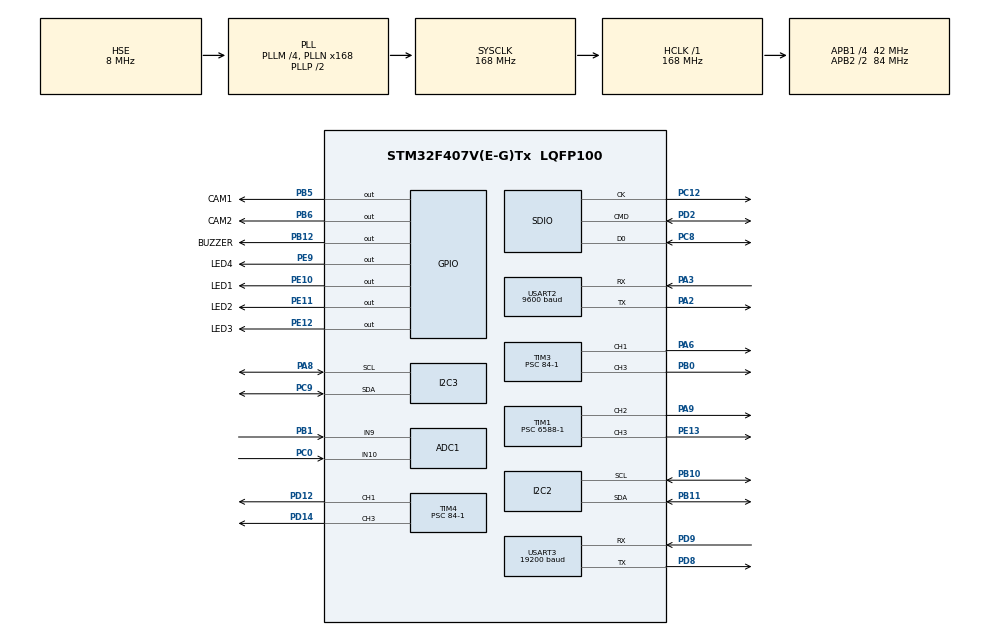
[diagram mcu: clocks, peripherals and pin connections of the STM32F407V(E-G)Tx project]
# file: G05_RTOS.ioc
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ADC1.Channel-0\#ChannelRegularConversion=ADC_CHANNEL_10
ADC1.ContinuousConvMode=ENABLE
ADC1.DMAContinuousRequests=ENABLE
ADC1.DiscontinuousConvMode=DISABLE
ADC1.NbrOfConversion=1
ADC1.NbrOfConversionFlag=1
ADC1.Rank-0\#ChannelRegularConversion=1
ADC1.SamplingTime-0\#ChannelRegularConversion=ADC_SAMPLETIME_480CYCLES
ADC1.ScanConvMode=ENABLE
ADC1.master=1
Dma.ADC1.3.Direction=DMA_PERIPH_TO_MEMORY
Dma.ADC1.3.FIFOMode=DMA_FIFOMODE_DISABLE
Dma.ADC1.3.Instance=DMA2_Stream0
Dma.ADC1.3.MemDataAlignment=DMA_MDATAALIGN_WORD
Dma.ADC1.3.MemInc=DMA_MINC_ENABLE
Dma.ADC1.3.Mode=DMA_CIRCULAR
Dma.ADC1.3.PeriphDataAlignment=DMA_PDATAALIGN_WORD
Dma.ADC1.3.PeriphInc=DMA_PINC_DISABLE
Dma.ADC1.3.Priority=DMA_PRIORITY_LOW
Dma.Request0=USART3_RX
Dma.Request1=USART3_TX
Dma.Request2=USART2_RX
Dma.Request3=ADC1
Dma.Request4=SDIO_RX
Dma.Request5=SDIO_TX
Dma.SDIO_RX.4.Direction=DMA_PERIPH_TO_MEMORY
Dma.SDIO_RX.4.FIFOMode=DMA_FIFOMODE_ENABLE
Dma.SDIO_RX.4.FIFOThreshold=DMA_FIFO_THRESHOLD_FULL
Dma.SDIO_RX.4.Instance=DMA2_Stream3
Dma.SDIO_RX.4.MemBurst=DMA_MBURST_INC4
Dma.SDIO_RX.4.MemDataAlignment=DMA_MDATAALIGN_WORD
Dma.SDIO_RX.4.MemInc=DMA_MINC_ENABLE
Dma.SDIO_RX.4.Mode=DMA_PFCTRL
Dma.SDIO_RX.4.PeriphBurst=DMA_PBURST_INC4
Dma.SDIO_RX.4.PeriphDataAlignment=DMA_PDATAALIGN_WORD
Dma.SDIO_RX.4.PeriphInc=DMA_PINC_DISABLE
Dma.SDIO_RX.4.Priority=DMA_PRIORITY_LOW
Dma.SDIO_TX.5.Direction=DMA_MEMORY_TO_PERIPH
Dma.SDIO_TX.5.FIFOMode=DMA_FIFOMODE_ENABLE
Dma.SDIO_TX.5.FIFOThreshold=DMA_FIFO_THRESHOLD_FULL
Dma.SDIO_TX.5.Instance=DMA2_Stream6
Dma.SDIO_TX.5.MemBurst=DMA_MBURST_INC4
Dma.SDIO_TX.5.MemDataAlignment=DMA_MDATAALIGN_WORD
Dma.SDIO_TX.5.MemInc=DMA_MINC_ENABLE
Dma.SDIO_TX.5.Mode=DMA_PFCTRL
Dma.SDIO_TX.5.PeriphBurst=DMA_PBURST_INC4
Dma.SDIO_TX.5.PeriphDataAlignment=DMA_PDATAALIGN_WORD
Dma.SDIO_TX.5.PeriphInc=DMA_PINC_DISABLE
Dma.SDIO_TX.5.Priority=DMA_PRIORITY_LOW
Dma.USART2_RX.2.Direction=DMA_PERIPH_TO_MEMORY
Dma.USART2_RX.2.FIFOMode=DMA_FIFOMODE_DISABLE
Dma.USART2_RX.2.Instance=DMA1_Stream5
Dma.USART2_RX.2.MemDataAlignment=DMA_MDATAALIGN_BYTE
Dma.USART2_RX.2.MemInc=DMA_MINC_ENABLE
Dma.USART2_RX.2.Mode=DMA_CIRCULAR
Dma.USART2_RX.2.PeriphDataAlignment=DMA_PDATAALIGN_BYTE
Dma.USART2_RX.2.PeriphInc=DMA_PINC_DISABLE
Dma.USART2_RX.2.Priority=DMA_PRIORITY_LOW
Dma.USART3_RX.0.Direction=DMA_PERIPH_TO_MEMORY
Dma.USART3_RX.0.FIFOMode=DMA_FIFOMODE_DISABLE
Dma.USART3_RX.0.Instance=DMA1_Stream1
Dma.USART3_RX.0.MemDataAlignment=DMA_MDATAALIGN_BYTE
Dma.USART3_RX.0.MemInc=DMA_MINC_ENABLE
Dma.USART3_RX.0.Mode=DMA_CIRCULAR
Dma.USART3_RX.0.PeriphDataAlignment=DMA_PDATAALIGN_BYTE
Dma.USART3_RX.0.PeriphInc=DMA_PINC_DISABLE
Dma.USART3_RX.0.Priority=DMA_PRIORITY_LOW
Dma.USART3_TX.1.Direction=DMA_MEMORY_TO_PERIPH
Dma.USART3_TX.1.FIFOMode=DMA_FIFOMODE_DISABLE
Dma.USART3_TX.1.Instance=DMA1_Stream3
Dma.USART3_TX.1.MemDataAlignment=DMA_MDATAALIGN_BYTE
Dma.USART3_TX.1.MemInc=DMA_MINC_ENABLE
Dma.USART3_TX.1.Mode=DMA_NORMAL
Dma.USART3_TX.1.PeriphDataAlignment=DMA_PDATAALIGN_BYTE
Dma.USART3_TX.1.PeriphInc=DMA_PINC_DISABLE
Dma.USART3_TX.1.Priority=DMA_PRIORITY_LOW
FATFS._MAX_SS=512
FATFS._USE_LFN=0
FREERTOS.BinarySemaphores01=telemetrySemaphore,Dynamic,NULL;gimbalSemaphore,Dynamic,NULL
FREERTOS.HEAP_NUMBER=4
FREERTOS.Tasks01=defaultTask,55,512,StartDefaultTask,Default,NULL,Dynamic,NULL,NULL;gimbalTask,16,512,StartGimbalTask,Default,NULL,Dynamic,NULL,NULL;gyroscopeTask,40,512,StartGyroscopeTask,Default,NULL,Dynamic,NULL,NULL;eulerTask,41,512,StartEulerTask,Default,NULL,Dynamic,NULL,NULL;rtcTask,8,512,StartRTCTask,Default,NULL,Dynamic,NULL,NULL;barometerTask,32,512,StartBarometerTask,Default,NULL,Dynamic,NULL,NULL;telemetryTask,53,512,StartTelemetryTask,Default,NULL,Dynamic,NULL,NULL;cameraTask,8,512,StartCameraTask,Default,NULL,Dynamic,NULL,NULL;calibrationTask,54,512,StartCalibrationTask,Default,NULL,Dynamic,NULL,NULL;adcTask,8,512,StartADCTask,Default,NULL,Dynamic,NULL,NULL;gpsTask,8,512,StartGPSTask,Default,NULL,Dynamic,NULL,NULL;getdataTask,16,512,StartGetDataTask,Default,NULL,Dynamic,NULL,NULL
FREERTOS.configTOTAL_HEAP_SIZE=32768
FREERTOS.configUSE_NEWLIB_REENTRANT=1
I2C2.DualAddressMode=I2C_DUALADDRESS_DISABLE
I2C2.NoStretchMode=I2C_NOSTRETCH_DISABLE
I2C3.I2C_Mode=I2C_Fast
Mcu.Family=STM32F4
Mcu.Name=STM32F407V(E-G)Tx
Mcu.Package=LQFP100
NVIC.DMA1_Stream1_IRQn=true\:5\:0\:false\:false\:true\:true\:false\:true\:true
NVIC.DMA1_Stream3_IRQn=true\:5\:0\:false\:false\:true\:true\:false\:true\:true
NVIC.DMA1_Stream5_IRQn=true\:5\:0\:false\:false\:true\:true\:false\:true\:true
NVIC.DMA2_Stream0_IRQn=true\:5\:0\:false\:false\:true\:true\:false\:true\:true
NVIC.DMA2_Stream3_IRQn=true\:5\:0\:false\:false\:true\:true\:false\:true\:true
NVIC.DMA2_Stream6_IRQn=true\:5\:0\:false\:false\:true\:true\:false\:true\:true
NVIC.PriorityGroup=NVIC_PRIORITYGROUP_4
NVIC.SDIO_IRQn=true\:5\:0\:false\:false\:true\:true\:true\:true\:true
NVIC.TIM1_UP_TIM10_IRQn=true\:5\:0\:true\:false\:true\:true\:true\:true\:true
NVIC.TIM6_DAC_IRQn=true\:15\:0\:false\:false\:true\:false\:false\:true\:true
NVIC.TimeBase=TIM6_DAC_IRQn
NVIC.TimeBaseIP=TIM6
NVIC.USART3_IRQn=true\:5\:0\:true\:false\:true\:true\:true\:true\:true
PA13.Mode=Serial_Wire
PA13.Signal=SYS_JTMS-SWDIO
PA14.Mode=Serial_Wire
PA14.Signal=SYS_JTCK-SWCLK
PA2.Mode=Asynchronous
PA2.Signal=USART2_TX
PA3.Mode=Asynchronous
PA3.Signal=USART2_RX
PA6.Signal=S_TIM3_CH1
PA8.Mode=I2C
PA8.Signal=I2C3_SCL
PA9.Signal=S_TIM1_CH2
PB0.Signal=S_TIM3_CH3
PB1.Signal=ADCx_IN9
PB10.Mode=I2C
PB10.Signal=I2C2_SCL
PB11.Mode=I2C
PB11.Signal=I2C2_SDA
PB12.GPIO_Label=BUZZER
PB12.Signal=GPIO_Output
PB5.GPIO_Label=CAM1
PB5.Signal=GPIO_Output
PB6.GPIO_Label=CAM2
PB6.Signal=GPIO_Output
PC0.Signal=ADCx_IN10
PC12.Mode=SD_1_bit
PC12.Signal=SDIO_CK
PC14-OSC32_IN.Mode=LSE-External-Oscillator
PC14-OSC32_IN.Signal=RCC_OSC32_IN
PC15-OSC32_OUT.Mode=LSE-External-Oscillator
PC15-OSC32_OUT.Signal=RCC_OSC32_OUT
PC8.Mode=SD_1_bit
PC8.Signal=SDIO_D0
PC9.Mode=I2C
PC9.Signal=I2C3_SDA
PD12.Signal=S_TIM4_CH1
PD14.Signal=S_TIM4_CH3
PD2.Mode=SD_1_bit
PD2.Signal=SDIO_CMD
PD8.Mode=Asynchronous
PD8.Signal=USART3_TX
PD9.Mode=Asynchronous
PD9.Signal=USART3_RX
PE10.GPIO_Label=LED1
PE10.Signal=GPIO_Output
PE11.GPIO_Label=LED2
PE11.Signal=GPIO_Output
PE12.GPIO_Label=LED3
PE12.Signal=GPIO_Output
PE13.Signal=S_TIM1_CH3
PE9.GPIO_Label=LED4
PE9.Signal=GPIO_Output
PH0-OSC_IN.Mode=HSE-External-Oscillator
PH0-OSC_IN.Signal=RCC_OSC_IN
PH1-OSC_OUT.Mode=HSE-External-Oscillator
PH1-OSC_OUT.Signal=RCC_OSC_OUT
ProjectManager.HeapSize=0x200
ProjectManager.StackSize=0x400
ProjectManager.TargetToolchain=STM32CubeIDE
RCC.48MHZClocksFreq_Value=48000000
RCC.AHBFreq_Value=168000000
RCC.APB1CLKDivider=RCC_HCLK_DIV4
RCC.APB1Freq_Value=42000000
RCC.APB1TimFreq_Value=84000000
RCC.APB2CLKDivider=RCC_HCLK_DIV2
RCC.APB2Freq_Value=84000000
RCC.APB2TimFreq_Value=168000000
RCC.CortexFreq_Value=168000000
RCC.HCLKFreq_Value=168000000
RCC.HSE_VALUE=8000000
RCC.HSI_VALUE=16000000
RCC.PLLM=4
RCC.PLLN=168
RCC.PLLQ=7
RCC.PLLSourceVirtual=RCC_PLLSOURCE_HSE
RCC.RCC_RTC_Clock_Source=RCC_RTCCLKSOURCE_LSE
RCC.RCC_RTC_Clock_SourceVirtual=RCC_RTCCLKSOURCE_LSE
RCC.SYSCLKFreq_VALUE=168000000
RCC.SYSCLKSource=RCC_SYSCLKSOURCE_PLLCLK
RCC.VCOOutputFreq_Value=336000000
SDIO.ClockDiv=12
SH.ADCx_IN10.0=ADC1_IN10,IN10
SH.ADCx_IN9.0=ADC1_IN9,IN9
SH.S_TIM1_CH2.0=TIM1_CH2,PWM Generation2 CH2
SH.S_TIM1_CH3.0=TIM1_CH3,PWM Generation3 CH3
SH.S_TIM3_CH1.0=TIM3_CH1,PWM Generation1 CH1
SH.S_TIM3_CH3.0=TIM3_CH3,PWM Generation3 CH3
SH.S_TIM4_CH1.0=TIM4_CH1,PWM Generation1 CH1
SH.S_TIM4_CH3.0=TIM4_CH3,PWM Generation3 CH3
TIM1.Channel-PWM\ Generation2\ CH2=TIM_CHANNEL_2
TIM1.Channel-PWM\ Generation3\ CH3=TIM_CHANNEL_3
TIM1.Period=255
TIM1.Prescaler=6588-1
TIM10.Period=10000-1
TIM10.Prescaler=16800-1
TIM3.Channel-PWM\ Generation1\ CH1=TIM_CHANNEL_1
TIM3.Channel-PWM\ Generation3\ CH3=TIM_CHANNEL_3
TIM3.Period=20000-1
TIM3.Prescaler=84-1
TIM4.Channel-PWM\ Generation1\ CH1=TIM_CHANNEL_1
TIM4.Channel-PWM\ Generation3\ CH3=TIM_CHANNEL_3
TIM4.Period=20000-1
TIM4.Prescaler=84-1
USART2.BaudRate=9600
USART2.VirtualMode=VM_ASYNC
USART3.BaudRate=19200
USART3.VirtualMode=VM_ASYNC
VP_FATFS_VS_SDIO.Mode=SDIO
VP_FREERTOS_VS_CMSIS_V2.Mode=CMSIS_V2
VP_RTC_VS_RTC_Activate.Mode=RTC_Enabled
VP_SYS_VS_tim6.Mode=TIM6
VP_TIM10_VS_ClockSourceINT.Mode=Enable_Timer
VP_TIM3_VS_ClockSourceINT.Mode=Internal
VP_TIM4_VS_ClockSourceINT.Mode=Internal
board=custom

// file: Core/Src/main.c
/* USER CODE BEGIN Header */
/**
  ******************************************************************************
  * @file           : main.c
  * @brief          : Main program body
  ******************************************************************************
  * @attention
  *
  * Copyright (c) 2024 STMicroelectronics.
  * All rights reserved.
  *
  * This software is licensed under terms that can be found in the LICENSE file
  * in the root directory of this software component.
  * If no LICENSE file comes with this software, it is provided AS-IS.
  *
  ******************************************************************************
  */
/* USER CODE END Header */
#include "main.h"
#include "cmsis_os.h"
#include "fatfs.h"

/* USER CODE BEGIN Includes */
#include <string.h>
#include <stdlib.h>
#include "BME280_STM32.h"
#include "bno055.h"
#include "GPS.h"
#include "kom.h"
#include "servo.h"
#include "user_task.h"
#include "tm_stm32f4_bkpsram.h"
#include "as5600.h"
#include "pid.h"
/* USER CODE END Includes */

/* USER CODE BEGIN PTD */
state_t cansatState;
cam_t camera;
/* USER CODE END PTD */

/* USER CODE BEGIN PM */

#define SAMPLE_TIME_GIMBAL_MS 		1
#define SAMPLE_TIME_EULER_MS 		10
#define SAMPLE_TIME_GYRO_MS 		10
#define SAMPLE_TIME_BARO_MS 		40
#define SAMPLE_TIME_RTC_MS 			1000
#define SAMPLE_TIME_DATA_MS			1000
#define SAMPLE_TIME_TELEMETRY_MS	1000
#define SAMPLE_TIME_ADC_MS			250
#define SAMPLE_TIME_GPS_MS			250

/* USER CODE END PM */

ADC_HandleTypeDef hadc1;
DMA_HandleTypeDef hdma_adc1;

I2C_HandleTypeDef hi2c2;
I2C_HandleTypeDef hi2c3;

RTC_HandleTypeDef hrtc;

SD_HandleTypeDef hsd;
DMA_HandleTypeDef hdma_sdio_rx;
DMA_HandleTypeDef hdma_sdio_tx;

TIM_HandleTypeDef htim1;
TIM_HandleTypeDef htim3;
TIM_HandleTypeDef htim4;
TIM_HandleTypeDef htim10;

UART_HandleTypeDef huart2;
UART_HandleTypeDef huart3;
DMA_HandleTypeDef hdma_usart2_rx;
DMA_HandleTypeDef hdma_usart3_rx;
DMA_HandleTypeDef hdma_usart3_tx;

/* Definitions for defaultTask */
osThreadId_t defaultTaskHandle;
const osThreadAttr_t defaultTask_attributes = {
  .name = "defaultTask",
  .stack_size = 512 * 4,
  .priority = (osPriority_t) osPriorityRealtime7,
};
/* Definitions for gimbalTask */
osThreadId_t gimbalTaskHandle;
const osThreadAttr_t gimbalTask_attributes = {
  .name = "gimbalTask",
  .stack_size = 512 * 4,
  .priority = (osPriority_t) osPriorityBelowNormal,
};
/* Definitions for gyroscopeTask */
osThreadId_t gyroscopeTaskHandle;
const osThreadAttr_t gyroscopeTask_attributes = {
  .name = "gyroscopeTask",
  .stack_size = 512 * 4,
  .priority = (osPriority_t) osPriorityHigh,
};
/* Definitions for eulerTask */
osThreadId_t eulerTaskHandle;
const osThreadAttr_t eulerTask_attributes = {
  .name = "eulerTask",
  .stack_size = 512 * 4,
  .priority = (osPriority_t) osPriorityHigh1,
};
/* Definitions for rtcTask */
osThreadId_t rtcTaskHandle;
const osThreadAttr_t rtcTask_attributes = {
  .name = "rtcTask",
  .stack_size = 512 * 4,
  .priority = (osPriority_t) osPriorityLow,
};
/* Definitions for barometerTask */
osThreadId_t barometerTaskHandle;
const osThreadAttr_t barometerTask_attributes = {
  .name = "barometerTask",
  .stack_size = 512 * 4,
  .priority = (osPriority_t) osPriorityAboveNormal,
};
/* Definitions for telemetryTask */
osThreadId_t telemetryTaskHandle;
const osThreadAttr_t telemetryTask_attributes = {
  .name = "telemetryTask",
  .stack_size = 512 * 4,
  .priority = (osPriority_t) osPriorityRealtime5,
};
/* Definitions for cameraTask */
osThreadId_t cameraTaskHandle;
const osThreadAttr_t cameraTask_attributes = {
  .name = "cameraTask",
  .stack_size = 512 * 4,
  .priority = (osPriority_t) osPriorityNormal,
};
/* Definitions for calibrationTask */
osThreadId_t calibrationTaskHandle;
const osThreadAttr_t calibrationTask_attributes = {
  .name = "calibrationTask",
  .stack_size = 512 * 4,
  .priority = (osPriority_t) osPriorityRealtime6,
};
/* Definitions for adcTask */
osThreadId_t adcTaskHandle;
const osThreadAttr_t adcTask_attributes = {
  .name = "adcTask",
  .stack_size = 512 * 4,
  .priority = (osPriority_t) osPriorityLow,
};
/* Definitions for gpsTask */
osThreadId_t gpsTaskHandle;
const osThreadAttr_t gpsTask_attributes = {
  .name = "gpsTask",
  .stack_size = 512 * 4,
  .priority = (osPriority_t) osPriorityLow1,
};
/* Definitions for getdataTask */
osThreadId_t getdataTaskHandle;
const osThreadAttr_t getdataTask_attributes = {
  .name = "getdataTask",
  .stack_size = 512 * 4,
  .priority = (osPriority_t) osPriorityBelowNormal,
};
/* Definitions for telemetrySemaphore */
osSemaphoreId_t telemetrySemaphoreHandle;
const osSemaphoreAttr_t telemetrySemaphore_attributes = {
  .name = "telemetrySemaphore"
};
/* Definitions for gimbalSemaphore */
osSemaphoreId_t gimbalSemaphoreHandle;
const osSemaphoreAttr_t gimbalSemaphore_attributes = {
  .name = "gimbalSemaphore"
};
/* USER CODE BEGIN PV */

FATFS fs;
FIL fil;
FILINFO fno;
FRESULT fresult;
UINT br, bw;

extern float Temperature, Pressure, Humidity, Spressure, refalt, tempalt;

extern lwgps_t gps;
extern char rxgps[128];
extern float gpslat,gpslong,gpsalt;
extern uint8_t gpssat;
extern char gpsdetik[3], gpsmenit[3], gpsjam[3];

extern datatelemetri_t datatelemetri;
extern uint16_t counting;
extern uint8_t flagtel, flagsim;

bno055_calibration_data_t bno055_calData;
bno055_calibration_state_t bno055_calStat;
bno055_vector_t bno055_euler, bno055_gyro;

PID_TypeDef _PID;
volatile int CountENC = 0;
int Rev = 0;
int Current_Angle = 0;
int CW, CCW;
double output = 0, Setpoint = 0, jarak_min = 0, input = 0;

/* USER CODE END PV */

void SystemClock_Config(void);
static void MX_GPIO_Init(void);
static void MX_DMA_Init(void);
static void MX_I2C2_Init(void);
static void MX_I2C3_Init(void);
static void MX_RTC_Init(void);
static void MX_SDIO_SD_Init(void);
static void MX_USART3_UART_Init(void);
static void MX_USART2_UART_Init(void);
static void MX_ADC1_Init(void);
static void MX_TIM3_Init(void);
static void MX_TIM4_Init(void);
static void MX_TIM10_Init(void);
static void MX_TIM1_Init(void);
void StartDefaultTask(void *argument);
void StartGimbalTask(void *argument);
void StartGyroscopeTask(void *argument);
void StartEulerTask(void *argument);
void StartRTCTask(void *argument);
void StartBarometerTask(void *argument);
void StartTelemetryTask(void *argument);
void StartCameraTask(void *argument);
void StartCalibrationTask(void *argument);
void StartADCTask(void *argument);
void StartGPSTask(void *argument);
void StartGetDataTask(void *argument);

/* USER CODE BEGIN PFP */
int map(int value, int from_low, int from_high, int to_low, int to_high)
{
    return ((value - from_low) * (to_high - to_low)) / (from_high - from_low) + to_low;
}
/* USER CODE END PFP */

int main(void)
{

  /* MCU Configuration--------------------------------------------------------*/

  /* Reset of all peripherals, Initializes the Flash interface and the Systick. */
  HAL_Init();

  /* Configure the system clock */
  SystemClock_Config();

  /* Initialize all configured peripherals */
  MX_GPIO_Init();
  MX_DMA_Init();
  MX_I2C2_Init();
  MX_I2C3_Init();
  MX_RTC_Init();
  MX_SDIO_SD_Init();
  MX_USART3_UART_Init();
  MX_USART2_UART_Init();
  MX_ADC1_Init();
  MX_TIM3_Init();
  MX_TIM4_Init();
  MX_TIM10_Init();
  MX_FATFS_Init();
  MX_TIM1_Init();

  /* Init scheduler */
  osKernelInitialize();

  /* Create the semaphores(s) */
  /* creation of telemetrySemaphore */
  telemetrySemaphoreHandle = osSemaphoreNew(1, 0, &telemetrySemaphore_attributes);

  /* creation of gimbalSemaphore */
  gimbalSemaphoreHandle = osSemaphoreNew(1, 0, &gimbalSemaphore_attributes);

  /* Create the thread(s) */
  /* creation of defaultTask */
  defaultTaskHandle = osThreadNew(StartDefaultTask, NULL, &defaultTask_attributes);

//  /* creation of gimbalTask */
//  gimbalTaskHandle = osThreadNew(StartGimbalTask, NULL, &gimbalTask_attributes);
//
//  /* creation of gyroscopeTask */
//  gyroscopeTaskHandle = osThreadNew(StartGyroscopeTask, NULL, &gyroscopeTask_attributes);
//
//  /* creation of eulerTask */
//  eulerTaskHandle = osThreadNew(StartEulerTask, NULL, &eulerTask_attributes);
//
//  /* creation of rtcTask */
//  rtcTaskHandle = osThreadNew(StartRTCTask, NULL, &rtcTask_attributes);
//
//  /* creation of barometerTask */
//  barometerTaskHandle = osThreadNew(StartBarometerTask, NULL, &barometerTask_attributes);
//
//  /* creation of telemetryTask */
//  telemetryTaskHandle = osThreadNew(StartTelemetryTask, NULL, &telemetryTask_attributes);
//
//  /* creation of cameraTask */
//  cameraTaskHandle = osThreadNew(StartCameraTask, NULL, &cameraTask_attributes);
//
//  /* creation of calibrationTask */
//  calibrationTaskHandle = osThreadNew(StartCalibrationTask, NULL, &calibrationTask_attributes);
//
//  /* creation of adcTask */
//  adcTaskHandle = osThreadNew(StartADCTask, NULL, &adcTask_attributes);
//
//  /* creation of gpsTask */
//  gpsTaskHandle = osThreadNew(StartGPSTask, NULL, &gpsTask_attributes);
//
//  /* creation of getdataTask */
//  getdataTaskHandle = osThreadNew(StartGetDataTask, NULL, &getdataTask_attributes);

  /* Start scheduler */
  osKernelStart();

  /* We should never get here as control is now taken by the scheduler */
  /* Infinite loop */
  while (1)
  {

  }
}

void SystemClock_Config(void)
{
  RCC_OscInitTypeDef RCC_OscInitStruct = {0};
  RCC_ClkInitTypeDef RCC_ClkInitStruct = {0};

  /** Configure the main internal regulator output voltage
  */
  __HAL_RCC_PWR_CLK_ENABLE();
  __HAL_PWR_VOLTAGESCALING_CONFIG(PWR_REGULATOR_VOLTAGE_SCALE1);

  /** Initializes the RCC Oscillators according to the specified parameters
  * in the RCC_OscInitTypeDef structure.
  */
  RCC_OscInitStruct.OscillatorType = RCC_OSCILLATORTYPE_HSE|RCC_OSCILLATORTYPE_LSE;
  RCC_OscInitStruct.HSEState = RCC_HSE_ON;
  RCC_OscInitStruct.LSEState = RCC_LSE_ON;
  RCC_OscInitStruct.PLL.PLLState = RCC_PLL_ON;
  RCC_OscInitStruct.PLL.PLLSource = RCC_PLLSOURCE_HSE;
  RCC_OscInitStruct.PLL.PLLM = 4;
  RCC_OscInitStruct.PLL.PLLN = 168;
  RCC_OscInitStruct.PLL.PLLP = RCC_PLLP_DIV2;
  RCC_OscInitStruct.PLL.PLLQ = 7;
  if (HAL_RCC_OscConfig(&RCC_OscInitStruct) != HAL_OK)
  {
    Error_Handler();
  }

  /** Initializes the CPU, AHB and APB buses clocks
  */
  RCC_ClkInitStruct.ClockType = RCC_CLOCKTYPE_HCLK|RCC_CLOCKTYPE_SYSCLK
                              |RCC_CLOCKTYPE_PCLK1|RCC_CLOCKTYPE_PCLK2;
  RCC_ClkInitStruct.SYSCLKSource = RCC_SYSCLKSOURCE_PLLCLK;
  RCC_ClkInitStruct.AHBCLKDivider = RCC_SYSCLK_DIV1;
  RCC_ClkInitStruct.APB1CLKDivider = RCC_HCLK_DIV4;
  RCC_ClkInitStruct.APB2CLKDivider = RCC_HCLK_DIV2;

  if (HAL_RCC_ClockConfig(&RCC_ClkInitStruct, FLASH_LATENCY_5) != HAL_OK)
  {
    Error_Handler();
  }
}

static void MX_ADC1_Init(void)
{

  ADC_ChannelConfTypeDef sConfig = {0};

  /** Configure the global features of the ADC (Clock, Resolution, Data Alignment and number of conversion)
  */
  hadc1.Instance = ADC1;
  hadc1.Init.ClockPrescaler = ADC_CLOCK_SYNC_PCLK_DIV4;
  hadc1.Init.Resolution = ADC_RESOLUTION_12B;
  hadc1.Init.ScanConvMode = ENABLE;
  hadc1.Init.ContinuousConvMode = ENABLE;
  hadc1.Init.DiscontinuousConvMode = DISABLE;
  hadc1.Init.ExternalTrigConvEdge = ADC_EXTERNALTRIGCONVEDGE_NONE;
  hadc1.Init.ExternalTrigConv = ADC_SOFTWARE_START;
  hadc1.Init.DataAlign = ADC_DATAALIGN_RIGHT;
  hadc1.Init.NbrOfConversion = 1;
  hadc1.Init.DMAContinuousRequests = ENABLE;
  hadc1.Init.EOCSelection = ADC_EOC_SINGLE_CONV;
  if (HAL_ADC_Init(&hadc1) != HAL_OK)
  {
    Error_Handler();
  }

  /** Configure for the selected ADC regular channel its corresponding rank in the sequencer and its sample time.
  */
  sConfig.Channel = ADC_CHANNEL_10;
  sConfig.Rank = 1;
  sConfig.SamplingTime = ADC_SAMPLETIME_480CYCLES;
  if (HAL_ADC_ConfigChannel(&hadc1, &sConfig) != HAL_OK)
  {
    Error_Handler();
  }

}

static void MX_I2C2_Init(void)
{

  hi2c2.Instance = I2C2;
  hi2c2.Init.ClockSpeed = 100000;
  hi2c2.Init.DutyCycle = I2C_DUTYCYCLE_2;
  hi2c2.Init.OwnAddress1 = 0;
  hi2c2.Init.AddressingMode = I2C_ADDRESSINGMODE_7BIT;
  hi2c2.Init.DualAddressMode = I2C_DUALADDRESS_DISABLE;
  hi2c2.Init.OwnAddress2 = 0;
  hi2c2.Init.GeneralCallMode = I2C_GENERALCALL_DISABLE;
  hi2c2.Init.NoStretchMode = I2C_NOSTRETCH_DISABLE;
  if (HAL_I2C_Init(&hi2c2) != HAL_OK)
  {
    Error_Handler();
  }

}

static void MX_I2C3_Init(void)
{

  hi2c3.Instance = I2C3;
  hi2c3.Init.ClockSpeed = 400000;
  hi2c3.Init.DutyCycle = I2C_DUTYCYCLE_2;
  hi2c3.Init.OwnAddress1 = 0;
  hi2c3.Init.AddressingMode = I2C_ADDRESSINGMODE_7BIT;
  hi2c3.Init.DualAddressMode = I2C_DUALADDRESS_DISABLE;
  hi2c3.Init.OwnAddress2 = 0;
  hi2c3.Init.GeneralCallMode = I2C_GENERALCALL_DISABLE;
  hi2c3.Init.NoStretchMode = I2C_NOSTRETCH_DISABLE;
  if (HAL_I2C_Init(&hi2c3) != HAL_OK)
  {
    Error_Handler();
  }

}

static void MX_RTC_Init(void)
{

  /** Initialize RTC Only
  */
  hrtc.Instance = RTC;
  hrtc.Init.HourFormat = RTC_HOURFORMAT_24;
  hrtc.Init.AsynchPrediv = 127;
  hrtc.Init.SynchPrediv = 255;
  hrtc.Init.OutPut = RTC_OUTPUT_DISABLE;
  hrtc.Init.OutPutPolarity = RTC_OUTPUT_POLARITY_HIGH;
  hrtc.Init.OutPutType = RTC_OUTPUT_TYPE_OPENDRAIN;
  if (HAL_RTC_Init(&hrtc) != HAL_OK)
  {
    Error_Handler();
  }

}

static void MX_SDIO_SD_Init(void)
{

  hsd.Instance = SDIO;
  hsd.Init.ClockEdge = SDIO_CLOCK_EDGE_RISING;
  hsd.Init.ClockBypass = SDIO_CLOCK_BYPASS_DISABLE;
  hsd.Init.ClockPowerSave = SDIO_CLOCK_POWER_SAVE_DISABLE;
  hsd.Init.BusWide = SDIO_BUS_WIDE_1B;
  hsd.Init.HardwareFlowControl = SDIO_HARDWARE_FLOW_CONTROL_DISABLE;
  hsd.Init.ClockDiv = 12;

}

static void MX_TIM1_Init(void)
{

  TIM_MasterConfigTypeDef sMasterConfig = {0};
  TIM_OC_InitTypeDef sConfigOC = {0};
  TIM_BreakDeadTimeConfigTypeDef sBreakDeadTimeConfig = {0};

  htim1.Instance = TIM1;
  htim1.Init.Prescaler = 6588-1;
  htim1.Init.CounterMode = TIM_COUNTERMODE_UP;
  htim1.Init.Period = 255;
  htim1.Init.ClockDivision = TIM_CLOCKDIVISION_DIV1;
  htim1.Init.RepetitionCounter = 0;
  htim1.Init.AutoReloadPreload = TIM_AUTORELOAD_PRELOAD_DISABLE;
  if (HAL_TIM_PWM_Init(&htim1) != HAL_OK)
  {
    Error_Handler();
  }
  sMasterConfig.MasterOutputTrigger = TIM_TRGO_RESET;
  sMasterConfig.MasterSlaveMode = TIM_MASTERSLAVEMODE_DISABLE;
  if (HAL_TIMEx_MasterConfigSynchronization(&htim1, &sMasterConfig) != HAL_OK)
  {
    Error_Handler();
  }
  sConfigOC.OCMode = TIM_OCMODE_PWM1;
  sConfigOC.Pulse = 0;
  sConfigOC.OCPolarity = TIM_OCPOLARITY_HIGH;
  sConfigOC.OCNPolarity = TIM_OCNPOLARITY_HIGH;
  sConfigOC.OCFastMode = TIM_OCFAST_DISABLE;
  sConfigOC.OCIdleState = TIM_OCIDLESTATE_RESET;
  sConfigOC.OCNIdleState = TIM_OCNIDLESTATE_RESET;
  if (HAL_TIM_PWM_ConfigChannel(&htim1, &sConfigOC, TIM_CHANNEL_2) != HAL_OK)
  {
    Error_Handler();
  }
  if (HAL_TIM_PWM_ConfigChannel(&htim1, &sConfigOC, TIM_CHANNEL_3) != HAL_OK)
  {
    Error_Handler();
  }
  sBreakDeadTimeConfig.OffStateRunMode = TIM_OSSR_DISABLE;
  sBreakDeadTimeConfig.OffStateIDLEMode = TIM_OSSI_DISABLE;
  sBreakDeadTimeConfig.LockLevel = TIM_LOCKLEVEL_OFF;
  sBreakDeadTimeConfig.DeadTime = 0;
  sBreakDeadTimeConfig.BreakState = TIM_BREAK_DISABLE;
  sBreakDeadTimeConfig.BreakPolarity = TIM_BREAKPOLARITY_HIGH;
  sBreakDeadTimeConfig.AutomaticOutput = TIM_AUTOMATICOUTPUT_DISABLE;
  if (HAL_TIMEx_ConfigBreakDeadTime(&htim1, &sBreakDeadTimeConfig) != HAL_OK)
  {
    Error_Handler();
  }
  HAL_TIM_MspPostInit(&htim1);

}

static void MX_TIM3_Init(void)
{

  TIM_ClockConfigTypeDef sClockSourceConfig = {0};
  TIM_MasterConfigTypeDef sMasterConfig = {0};
  TIM_OC_InitTypeDef sConfigOC = {0};

  htim3.Instance = TIM3;
  htim3.Init.Prescaler = 84-1;
  htim3.Init.CounterMode = TIM_COUNTERMODE_UP;
  htim3.Init.Period = 20000-1;
  htim3.Init.ClockDivision = TIM_CLOCKDIVISION_DIV1;
  htim3.Init.AutoReloadPreload = TIM_AUTORELOAD_PRELOAD_DISABLE;
  if (HAL_TIM_Base_Init(&htim3) != HAL_OK)
  {
    Error_Handler();
  }
  sClockSourceConfig.ClockSource = TIM_CLOCKSOURCE_INTERNAL;
  if (HAL_TIM_ConfigClockSource(&htim3, &sClockSourceConfig) != HAL_OK)
  {
    Error_Handler();
  }
  if (HAL_TIM_PWM_Init(&htim3) != HAL_OK)
  {
    Error_Handler();
  }
  sMasterConfig.MasterOutputTrigger = TIM_TRGO_RESET;
  sMasterConfig.MasterSlaveMode = TIM_MASTERSLAVEMODE_DISABLE;
  if (HAL_TIMEx_MasterConfigSynchronization(&htim3, &sMasterConfig) != HAL_OK)
  {
    Error_Handler();
  }
  sConfigOC.OCMode = TIM_OCMODE_PWM1;
  sConfigOC.Pulse = 0;
  sConfigOC.OCPolarity = TIM_OCPOLARITY_HIGH;
  sConfigOC.OCFastMode = TIM_OCFAST_DISABLE;
  if (HAL_TIM_PWM_ConfigChannel(&htim3, &sConfigOC, TIM_CHANNEL_1) != HAL_OK)
  {
    Error_Handler();
  }
  if (HAL_TIM_PWM_ConfigChannel(&htim3, &sConfigOC, TIM_CHANNEL_3) != HAL_OK)
  {
    Error_Handler();
  }
  HAL_TIM_MspPostInit(&htim3);

}

static void MX_TIM4_Init(void)
{

  TIM_ClockConfigTypeDef sClockSourceConfig = {0};
  TIM_MasterConfigTypeDef sMasterConfig = {0};
  TIM_OC_InitTypeDef sConfigOC = {0};

  htim4.Instance = TIM4;
  htim4.Init.Prescaler = 84-1;
  htim4.Init.CounterMode = TIM_COUNTERMODE_UP;
  htim4.Init.Period = 20000-1;
  htim4.Init.ClockDivision = TIM_CLOCKDIVISION_DIV1;
  htim4.Init.AutoReloadPreload = TIM_AUTORELOAD_PRELOAD_DISABLE;
  if (HAL_TIM_Base_Init(&htim4) != HAL_OK)
  {
    Error_Handler();
  }
  sClockSourceConfig.ClockSource = TIM_CLOCKSOURCE_INTERNAL;
  if (HAL_TIM_ConfigClockSource(&htim4, &sClockSourceConfig) != HAL_OK)
  {
    Error_Handler();
  }
  if (HAL_TIM_PWM_Init(&htim4) != HAL_OK)
  {
    Error_Handler();
  }
  sMasterConfig.MasterOutputTrigger = TIM_TRGO_RESET;
  sMasterConfig.MasterSlaveMode = TIM_MASTERSLAVEMODE_DISABLE;
  if (HAL_TIMEx_MasterConfigSynchronization(&htim4, &sMasterConfig) != HAL_OK)
  {
    Error_Handler();
  }
  sConfigOC.OCMode = TIM_OCMODE_PWM1;
  sConfigOC.Pulse = 0;
  sConfigOC.OCPolarity = TIM_OCPOLARITY_HIGH;
  sConfigOC.OCFastMode = TIM_OCFAST_DISABLE;
  if (HAL_TIM_PWM_ConfigChannel(&htim4, &sConfigOC, TIM_CHANNEL_1) != HAL_OK)
  {
    Error_Handler();
  }
  if (HAL_TIM_PWM_ConfigChannel(&htim4, &sConfigOC, TIM_CHANNEL_3) != HAL_OK)
  {
    Error_Handler();
  }
  HAL_TIM_MspPostInit(&htim4);

}

static void MX_TIM10_Init(void)
{

  htim10.Instance = TIM10;
  htim10.Init.Prescaler = 16800-1;
  htim10.Init.CounterMode = TIM_COUNTERMODE_UP;
  htim10.Init.Period = 10000-1;
  htim10.Init.ClockDivision = TIM_CLOCKDIVISION_DIV1;
  htim10.Init.AutoReloadPreload = TIM_AUTORELOAD_PRELOAD_DISABLE;
  if (HAL_TIM_Base_Init(&htim10) != HAL_OK)
  {
    Error_Handler();
  }

}

static void MX_USART2_UART_Init(void)
{

  huart2.Instance = USART2;
  huart2.Init.BaudRate = 9600;
  huart2.Init.WordLength = UART_WORDLENGTH_8B;
  huart2.Init.StopBits = UART_STOPBITS_1;
  huart2.Init.Parity = UART_PARITY_NONE;
  huart2.Init.Mode = UART_MODE_TX_RX;
  huart2.Init.HwFlowCtl = UART_HWCONTROL_NONE;
  huart2.Init.OverSampling = UART_OVERSAMPLING_16;
  if (HAL_UART_Init(&huart2) != HAL_OK)
  {
    Error_Handler();
  }

}

static void MX_USART3_UART_Init(void)
{

  huart3.Instance = USART3;
  huart3.Init.BaudRate = 19200;
  huart3.Init.WordLength = UART_WORDLENGTH_8B;
  huart3.Init.StopBits = UART_STOPBITS_1;
  huart3.Init.Parity = UART_PARITY_NONE;
  huart3.Init.Mode = UART_MODE_TX_RX;
  huart3.Init.HwFlowCtl = UART_HWCONTROL_NONE;
  huart3.Init.OverSampling = UART_OVERSAMPLING_16;
  if (HAL_UART_Init(&huart3) != HAL_OK)
  {
    Error_Handler();
  }

}

static void MX_DMA_Init(void)
{

  /* DMA controller clock enable */
  __HAL_RCC_DMA1_CLK_ENABLE();
  __HAL_RCC_DMA2_CLK_ENABLE();

  /* DMA interrupt init */
  /* DMA1_Stream1_IRQn interrupt configuration */
  HAL_NVIC_SetPriority(DMA1_Stream1_IRQn, 5, 0);
  HAL_NVIC_EnableIRQ(DMA1_Stream1_IRQn);
  /* DMA1_Stream3_IRQn interrupt configuration */
  HAL_NVIC_SetPriority(DMA1_Stream3_IRQn, 5, 0);
  HAL_NVIC_EnableIRQ(DMA1_Stream3_IRQn);
  /* DMA1_Stream5_IRQn interrupt configuration */
  HAL_NVIC_SetPriority(DMA1_Stream5_IRQn, 5, 0);
  HAL_NVIC_EnableIRQ(DMA1_Stream5_IRQn);
  /* DMA2_Stream0_IRQn interrupt configuration */
  HAL_NVIC_SetPriority(DMA2_Stream0_IRQn, 5, 0);
  HAL_NVIC_EnableIRQ(DMA2_Stream0_IRQn);
  /* DMA2_Stream3_IRQn interrupt configuration */
  HAL_NVIC_SetPriority(DMA2_Stream3_IRQn, 5, 0);
  HAL_NVIC_EnableIRQ(DMA2_Stream3_IRQn);
  /* DMA2_Stream6_IRQn interrupt configuration */
  HAL_NVIC_SetPriority(DMA2_Stream6_IRQn, 5, 0);
  HAL_NVIC_EnableIRQ(DMA2_Stream6_IRQn);

}

static void MX_GPIO_Init(void)
{
  GPIO_InitTypeDef GPIO_InitStruct = {0};

  /* GPIO Ports Clock Enable */
  __HAL_RCC_GPIOC_CLK_ENABLE();
  __HAL_RCC_GPIOH_CLK_ENABLE();
  __HAL_RCC_GPIOA_CLK_ENABLE();
  __HAL_RCC_GPIOB_CLK_ENABLE();
  __HAL_RCC_GPIOE_CLK_ENABLE();
  __HAL_RCC_GPIOD_CLK_ENABLE();

  /*Configure GPIO pin Output Level */
  HAL_GPIO_WritePin(GPIOE, LED4_Pin|LED1_Pin|LED2_Pin|LED3_Pin, GPIO_PIN_RESET);

  /*Configure GPIO pin Output Level */
  HAL_GPIO_WritePin(GPIOB, BUZZER_Pin|CAM1_Pin|CAM2_Pin, GPIO_PIN_RESET);

  /*Configure GPIO pins : LED4_Pin LED1_Pin LED2_Pin LED3_Pin */
  GPIO_InitStruct.Pin = LED4_Pin|LED1_Pin|LED2_Pin|LED3_Pin;
  GPIO_InitStruct.Mode = GPIO_MODE_OUTPUT_PP;
  GPIO_InitStruct.Pull = GPIO_NOPULL;
  GPIO_InitStruct.Speed = GPIO_SPEED_FREQ_LOW;
  HAL_GPIO_Init(GPIOE, &GPIO_InitStruct);

  /*Configure GPIO pins : BUZZER_Pin CAM1_Pin CAM2_Pin */
  GPIO_InitStruct.Pin = BUZZER_Pin|CAM1_Pin|CAM2_Pin;
  GPIO_InitStruct.Mode = GPIO_MODE_OUTPUT_PP;
  GPIO_InitStruct.Pull = GPIO_NOPULL;
  GPIO_InitStruct.Speed = GPIO_SPEED_FREQ_LOW;
  HAL_GPIO_Init(GPIOB, &GPIO_InitStruct);

}

/* USER CODE BEGIN 4 */

void HAL_ADC_ConvCpltCallback(ADC_HandleTypeDef *hadc)
{
	osThreadFlagsSet(adcTaskHandle, 1);
//	ADC_measure();
}

void HAL_UART_RxCpltCallback(UART_HandleTypeDef *huart)
{
	if (huart == &huart2)
	{
		osThreadFlagsSet(gpsTaskHandle, 1);
//		parsegpsdata();
	}

	if (huart == &huart3)
	{
		checkdata_();
	}
}

void HAL_UART_TxCpltCallback(UART_HandleTypeDef *huart)
{
}

/* USER CODE END 4 */

void StartDefaultTask(void *argument)
{
  /* USER CODE BEGIN 5 */
	TM_BKPSRAM_Init();
	init();
	rtcbackup();

	if (f_mount(&fs, (const TCHAR *)SDPath, 1) == FR_OK)
	{
		if (f_stat("2032.txt", &fno) != FR_OK)
		{
			f_open(&fil, "2032.txt", FA_CREATE_ALWAYS | FA_READ | FA_WRITE);
			f_close(&fil);
		}
	}
	else
	{
		Error_Handler();
	}

	bno055_init();
	bno055_setCalibrationData(bno055_calData);

	if (BME280_Config(OSRS_2, OSRS_16, OSRS_OFF, MODE_NORMAL, T_SB_0p5, IIR_16) == 0)
	{
		HAL_GPIO_WritePin(LED2_GPIO_Port, LED2_Pin, SET);
	}
	else
	{
		Error_Handler();
	}

#ifdef USE_SERVO_GIMBAL
	HAL_TIM_PWM_Start(&htim3, TIM_CHANNEL_1);
	HAL_TIM_PWM_Start(&htim3, TIM_CHANNEL_3);
#else /* USE_SERVO_GIMBAL */
	PID(&_PID, &input, &output, &Setpoint, 11, 0, 0, _PID_P_ON_E, _PID_CD_DIRECT);
	PID_SetMode(&_PID, _PID_MODE_AUTOMATIC);
	PID_SetSampleTime(&_PID, 1);
	PID_SetOutputLimits(&_PID, -255, 255);
	resetPosition(0);
	resetCumulativePosition(0);
	TIM1->CCR2 = 0;
	TIM1->CCR3 = 0;
	HAL_TIM_PWM_Start(&htim1, TIM_CHANNEL_3);
	HAL_TIM_PWM_Start(&htim1, TIM_CHANNEL_2);
#endif /* USE_SERVO_GIMBAL */

	HAL_TIM_PWM_Start(&htim4, TIM_CHANNEL_1);

	/* creation of calibrationTask */
	calibrationTaskHandle = osThreadNew(StartCalibrationTask, NULL, &calibrationTask_attributes);

	/* creation of telemetryTask */
	telemetryTaskHandle = osThreadNew(StartTelemetryTask, NULL, &telemetryTask_attributes);

	/* creation of eulerTask */
	eulerTaskHandle = osThreadNew(StartEulerTask, NULL, &eulerTask_attributes);

	/* creation of gyroscopeTask */
	gyroscopeTaskHandle = osThreadNew(StartGyroscopeTask, NULL, &gyroscopeTask_attributes);

	/* creation of barometerTask */
	barometerTaskHandle = osThreadNew(StartBarometerTask, NULL, &barometerTask_attributes);

	/* creation of gimbalTask */
	gimbalTaskHandle = osThreadNew(StartGimbalTask, NULL, &gimbalTask_attributes);

	/* creation of getdataTask */
	getdataTaskHandle = osThreadNew(StartGetDataTask, NULL, &getdataTask_attributes);

	/* creation of rtcTask */
	rtcTaskHandle = osThreadNew(StartRTCTask, NULL, &rtcTask_attributes);

	/* creation of cameraTask */
	cameraTaskHandle = osThreadNew(StartCameraTask, NULL, &cameraTask_attributes);

	/* creation of adcTask */
	adcTaskHandle = osThreadNew(StartADCTask, NULL, &adcTask_attributes);

	/* creation of gpsTask */
	gpsTaskHandle = osThreadNew(StartGPSTask, NULL, &gpsTask_attributes);

	if (flagtel)
	{
		osSemaphoreRelease(telemetrySemaphoreHandle);
	}

	adcinit();
	gpsinit();
	kominit();

	osThreadTerminate(defaultTaskHandle);
  /* Infinite loop */
  for(;;)
  {
  }
  /* USER CODE END 5 */
}

void StartGimbalTask(void *argument)
{
  /* USER CODE BEGIN StartGimbalTask */
  /* Infinite loop */
  for(;;)
  {
	  osSemaphoreAcquire(gimbalSemaphoreHandle, osWaitForever);

#ifdef USE_SERVO_GIMBAL
	  if (bno055_euler.x >= 0 && bno055_euler.x < 180)
	  {
		  servogerak(&htim3, TIM_CHANNEL_1, bno055_euler.x);
		  servogerak(&htim3, TIM_CHANNEL_3, 0);
	  }
	  else if (bno055_euler.x >= 180 && bno055_euler.x <= 360)
	  {
		  servogerak(&htim3, TIM_CHANNEL_1, 180);
		  servogerak(&htim3, TIM_CHANNEL_3, bno055_euler.x - 180);
	  }
#else /* USE_SERVO_GIMBAL */
	  CountENC = getCumulativePosition();
	  Rev = CountENC % 4095;
	  Current_Angle = map(Rev, 0, 4095, 0, 359);
	  CW = ((int)bno055_euler.x - Current_Angle+360) % 360;
	  CCW = ((Current_Angle - (int)bno055_euler.x+360) % 360);

	  if (CW < CCW)
		  jarak_min = CW;
	  else
		  jarak_min = -CCW;

	  input = jarak_min;
	  PID_Compute(&_PID);

	  if (output > 0)
		  TIM1->CCR3 = (uint32_t)output;
	  else
		  TIM1->CCR2 = (uint32_t)abs(output);
#endif /* USE_SERVO_GIMBAL */

	  osSemaphoreRelease(gimbalSemaphoreHandle);

	  osDelay(SAMPLE_TIME_GIMBAL_MS);
  }
  /* USER CODE END StartGimbalTask */
}

void StartGyroscopeTask(void *argument)
{
  /* USER CODE BEGIN StartGyroscopeTask */
  /* Infinite loop */
  for(;;)
  {
	  datatelemetri.rot_z = bno055_getRotationZ();

	  osDelay(SAMPLE_TIME_GYRO_MS);
  }
  /* USER CODE END StartGyroscopeTask */
}

void StartEulerTask(void *argument)
{
  /* USER CODE BEGIN StartEulerTask */
  /* Infinite loop */
  for(;;)
  {
	  bno055_euler = bno055_getEuler();
	  datatelemetri.heading = bno055_euler.x;
	  datatelemetri.tilt_x = bno055_euler.y;
	  datatelemetri.tilt_y = bno055_euler.z;

	  osDelay(SAMPLE_TIME_EULER_MS);
  }
  /* USER CODE END StartEulerTask */
}

void StartRTCTask(void *argument)
{
  /* USER CODE BEGIN StartRTCTask */
  /* Infinite loop */
  for(;;)
  {
	  RTC_TimeTypeDef gTime;
	  RTC_DateTypeDef gDate;

	  HAL_RTC_GetTime(&hrtc, &gTime, RTC_FORMAT_BIN);
	  HAL_RTC_GetDate(&hrtc, &gDate, RTC_FORMAT_BIN);

	  wakturtc(gTime.Hours,datatelemetri.jam);
	  wakturtc(gTime.Minutes,datatelemetri.menit);
	  wakturtc(gTime.Seconds,datatelemetri.detik);

	  osDelay(SAMPLE_TIME_RTC_MS);
  }
  /* USER CODE END StartRTCTask */
}

void StartBarometerTask(void *argument)
{
  /* USER CODE BEGIN StartBarometerTask */
  /* Infinite loop */
  for(;;)
  {
	  BME280_Measure();
	  datatelemetri.temp = Temperature;
	  switch (flagsim)
	  {
		  case 2:
			  datatelemetri.alt = pressuretoalt(Spressure / 100);
			  datatelemetri.barpress = Spressure / 1000;
			  datatelemetri.alt -= refalt;
			  break;
		  default:
			  datatelemetri.alt = pressuretoalt(Pressure / 100);
			  datatelemetri.barpress = Pressure / 1000;
			  datatelemetri.alt -= refalt;
			  break;
	  }
	  if (datatelemetri.alt < 0)
	  {
		  datatelemetri.alt = 0;
	  }
	  state();

	  osDelay(SAMPLE_TIME_BARO_MS);
  }
  /* USER CODE END StartBarometerTask */
}

void StartTelemetryTask(void *argument)
{
  /* USER CODE BEGIN StartTelemetryTask */
  /* Infinite loop */
  for(;;)
  {
	  osDelay(SAMPLE_TIME_TELEMETRY_MS);

	  if (f_mount(&fs, (const TCHAR *)SDPath, 1) == FR_OK)
	  {
		  f_open(&fil, "2032.txt", FA_OPEN_APPEND | FA_WRITE);
		  f_write(&fil, datatelemetri.telemetritotal, strlen(datatelemetri.telemetritotal), &bw);
		  f_close(&fil);
	  }

	  osSemaphoreAcquire(telemetrySemaphoreHandle, osWaitForever);

	  counting++;
	  TM_BKPSRAM_Write16(PACKETCOUNT_ADR, counting);
	  HAL_UART_Transmit_DMA(&huart3, (uint8_t *)datatelemetri.telemetritotal, strlen(datatelemetri.telemetritotal));
	  HAL_GPIO_TogglePin(LED4_GPIO_Port, LED4_Pin);

	  osSemaphoreRelease(telemetrySemaphoreHandle);
  }
  /* USER CODE END StartTelemetryTask */
}

void StartCameraTask(void *argument)
{
  /* USER CODE BEGIN StartCameraTask */
  /* Infinite loop */
  for(;;)
  {
	  osThreadFlagsWait(1, osFlagsWaitAny, osWaitForever);

	  switch (camera)
	  {
	  	  case MAIN_CAM:
			  HAL_GPIO_WritePin(CAM1_GPIO_Port, CAM1_Pin, SET);
			  osDelay(4000);
			  HAL_GPIO_WritePin(CAM1_GPIO_Port, CAM1_Pin, RESET);
			  osDelay(2000);
			  HAL_GPIO_WritePin(CAM1_GPIO_Port, CAM1_Pin, SET);
			  osDelay(1000);
			  HAL_GPIO_WritePin(CAM1_GPIO_Port, CAM1_Pin, RESET);
			  break;

	  	  case BONUS_CAM:
			  HAL_GPIO_WritePin(CAM2_GPIO_Port, CAM2_Pin, SET);
			  osDelay(4000);
			  HAL_GPIO_WritePin(CAM2_GPIO_Port, CAM2_Pin, RESET);
			  osDelay(2000);
			  HAL_GPIO_WritePin(CAM2_GPIO_Port, CAM2_Pin, SET);
			  osDelay(1000);
			  HAL_GPIO_WritePin(CAM2_GPIO_Port, CAM2_Pin, RESET);
			  break;

	  	  case CAM_OFF:
			  HAL_GPIO_WritePin(CAM1_GPIO_Port, CAM1_Pin | CAM2_Pin, SET);
			  osDelay(1000);
			  HAL_GPIO_WritePin(CAM1_GPIO_Port, CAM1_Pin | CAM2_Pin, RESET);
			  osDelay(750);
			  HAL_GPIO_WritePin(CAM1_GPIO_Port, CAM1_Pin | CAM2_Pin, SET);
			  osDelay(5000);
			  HAL_GPIO_WritePin(CAM1_GPIO_Port, CAM1_Pin | CAM2_Pin, RESET);
			  break;
	  }
  }
  /* USER CODE END StartCameraTask */
}

void StartCalibrationTask(void *argument)
{
  /* USER CODE BEGIN StartCalibrationTask */
  /* Infinite loop */
  for(;;)
  {
	  osThreadFlagsWait(1, osFlagsWaitAny, osWaitForever);
	  osKernelLock();

	  for (;;)
	  {
		  bno055_calStat = bno055_getCalibrationState();

		  if (bno055_calStat.gyro == 3)
			  HAL_GPIO_WritePin(LED1_GPIO_Port, LED1_Pin, SET);
		  else
			  HAL_GPIO_WritePin(LED1_GPIO_Port, LED1_Pin, RESET);

		  if (bno055_calStat.accel == 3)
			  HAL_GPIO_WritePin(LED2_GPIO_Port, LED2_Pin, SET);
		  else
			  HAL_GPIO_WritePin(LED2_GPIO_Port, LED2_Pin, RESET);

		  if (bno055_calStat.mag == 3)
			  HAL_GPIO_WritePin(LED3_GPIO_Port, LED3_Pin, SET);
		  else
			  HAL_GPIO_WritePin(LED3_GPIO_Port, LED3_Pin, RESET);

		  if (bno055_calStat.sys == 3)
			  HAL_GPIO_WritePin(LED4_GPIO_Port, LED4_Pin, SET);
		  else
			  HAL_GPIO_WritePin(LED4_GPIO_Port, LED4_Pin, RESET);

		  if (bno055_calStat.gyro == 3 && bno055_calStat.mag == 3 && bno055_calStat.accel == 3)
		  {
			  bno055_calData = bno055_getCalibrationData();
			  TM_BKPSRAM_WriteCalData(BNO055CAL_ADR, bno055_calData);
			  bno055_setCalibrationData(bno055_calData);
			  HAL_Delay(500);
			  HAL_GPIO_WritePin(LED1_GPIO_Port, LED1_Pin | LED2_Pin | LED3_Pin | LED4_Pin, RESET);
			  HAL_Delay(500);
			  HAL_GPIO_WritePin(LED1_GPIO_Port, LED1_Pin, SET);

			  uint8_t chip_id;
			  HAL_I2C_Mem_Read(&hi2c3, BME280_ADDRESS, ID_REG, 1, &chip_id, 1, HAL_MAX_DELAY);
			  if (chip_id == 0x60)
			  {
				  HAL_GPIO_WritePin(LED2_GPIO_Port, LED2_Pin, SET);
			  }
			  break;
		  }
	  }

	  osKernelUnlock();
  }
  /* USER CODE END StartCalibrationTask */
}

void StartADCTask(void *argument)
{
  /* USER CODE BEGIN StartADCTask */
  /* Infinite loop */
  for(;;)
  {
	  osThreadFlagsWait(1, osFlagsWaitAny, osWaitForever);
	  ADC_measure();
	  osDelay(SAMPLE_TIME_ADC_MS);
  }
  /* USER CODE END StartADCTask */
}

void StartGPSTask(void *argument)
{
  /* USER CODE BEGIN StartGPSTask */
  /* Infinite loop */
  for(;;)
  {
	  osThreadFlagsWait(1, osFlagsWaitAny, osWaitForever);
	  parsegpsdata();
	  osDelay(SAMPLE_TIME_GPS_MS);
  }
  /* USER CODE END StartGPSTask */
}

void StartGetDataTask(void *argument)
{
  /* USER CODE BEGIN StartGetDataTask */
  /* Infinite loop */
  for(;;)
  {
	  tempalt = datatelemetri.alt;
	  datatelemetri.packetcount = counting;
	  sprintf(datatelemetri.telemetribuff, "2032,%c%c:%c%c:%c%c,%d,%c,%s,%.1f,%.2f,%c,%c,%.1f,%.1f,%.1f,%c%c:%c%c:%c%c,%.1f,%.4f,%.4f,%d,%.2f,%.2f,%.1f,%s,,%.1f,",
			  datatelemetri.jam[0], datatelemetri.jam[1], datatelemetri.menit[0], datatelemetri.menit[1], datatelemetri.detik[0], datatelemetri.detik[1],
			  datatelemetri.packetcount, datatelemetri.fmode, datatelemetri.state, datatelemetri.alt, datatelemetri.airspeed, datatelemetri.hsdeploy, datatelemetri.pcdeploy,
			  datatelemetri.temp, datatelemetri.voltage, datatelemetri.barpress, gpsjam[0], gpsjam[1], gpsmenit[0], gpsmenit[1], gpsdetik[0], gpsdetik[1],
			  gpsalt, gpslat, gpslong, gpssat, datatelemetri.tilt_x, datatelemetri.tilt_y, datatelemetri.rot_z, datatelemetri.echocmd, datatelemetri.heading);
	  uint8_t csh = ~buatcs(datatelemetri.telemetribuff);
	  sprintf(datatelemetri.telemetritotal,"%s%d\r\n", datatelemetri.telemetribuff, csh);

	  osDelay(SAMPLE_TIME_DATA_MS);
  }
  /* USER CODE END StartGetDataTask */
}

void HAL_TIM_PeriodElapsedCallback(TIM_HandleTypeDef *htim)
{
  if (htim->Instance == TIM6) {
    HAL_IncTick();
  }
}

void Error_Handler(void)
{
  __disable_irq();
  while (1)
  {
  }
}
